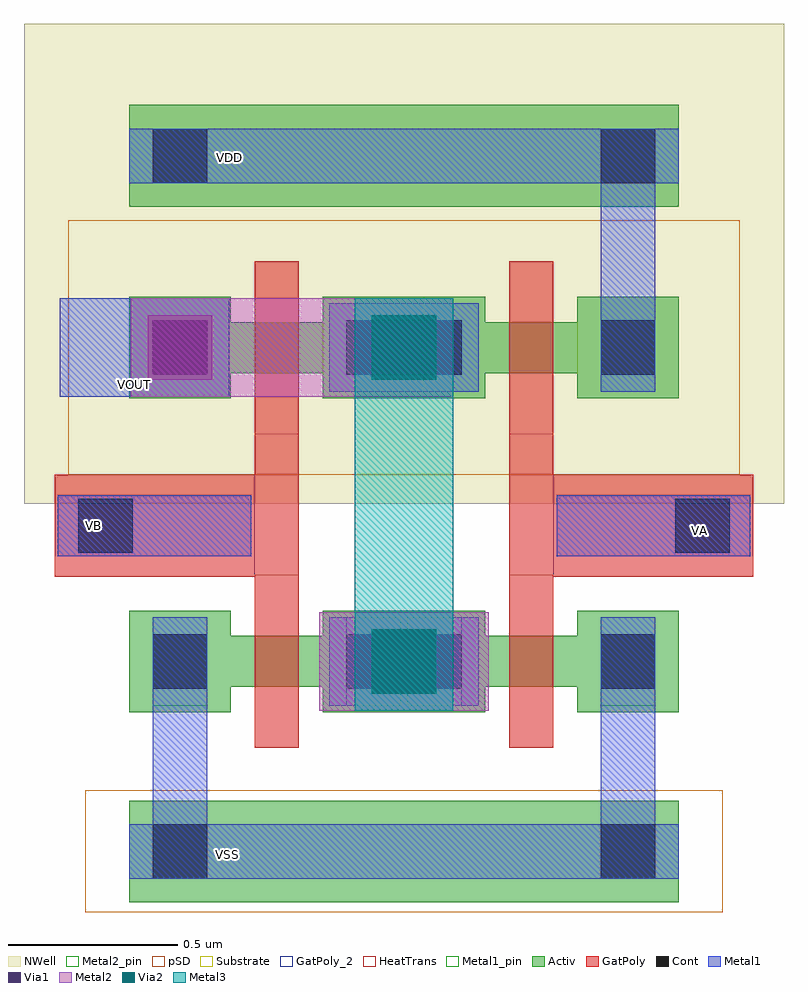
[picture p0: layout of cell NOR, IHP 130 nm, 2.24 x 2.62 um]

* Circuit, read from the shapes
.subckt NOR VA VB VDD VOUT VSS
XM1 VOUT VB VSS VSS sg13_lv_nmos w=0.15u l=0.13u
XM2 VSS VA VOUT VSS sg13_lv_nmos w=0.15u l=0.13u
XM3 n1 VB VOUT VDD sg13_lv_pmos w=0.15u l=0.13u
XM4 VDD VA n1 VDD sg13_lv_pmos w=0.15u l=0.13u
.ends

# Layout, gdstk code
import gdstk
lib = gdstk.Library(unit=1e-6, precision=5e-09)
def R(c, l, rs):  # rectangles x0, y0, x1, y1
    for r in rs: c.add(gdstk.rectangle(r[:2], r[2:], *l))
Activ = (1, 0)
GatPoly = (5, 0)
GatPoly_2 = (5, 2)
Cont = (6, 0)
Metal1 = (8, 0)
Metal1_pin = (8, 2)
Metal2 = (10, 0)
Metal2_pin = (10, 2)
pSD = (14, 0)
Via1 = (19, 0)
Via2 = (29, 0)
Metal3 = (30, 0)
NWell = (31, 0)
Substrate = (40, 0)
HeatTrans = (51, 0)

via1_constraint = lib.new_cell('Via1_constraint')
R(via1_constraint, Metal1, [(0,0,0.29,0.29)])
R(via1_constraint, Metal2, [(0,0,0.29,0.29)])
R(via1_constraint, Via1, [(0.05,0.05,0.24,0.24)])

via2_constraint = lib.new_cell('Via2_constraint')
R(via2_constraint, Metal2, [(0,0,0.29,0.29)])
R(via2_constraint, Via2, [(0.05,0.05,0.24,0.24)])
R(via2_constraint, Metal3, [(0,0,0.29,0.29)])

nmos = lib.new_cell('nmos')
R(nmos, Activ, [(0,0,0.3,0.3), (0.57,0,0.87,0.3), (0,0.075,0.87,0.225)])
R(nmos, GatPoly, [(0.37,-0.105,0.5,0.405)])
R(nmos, GatPoly_2, [(0.37,-0.105,0.5,0.405)])
R(nmos, Cont, [(0.07,0.07,0.23,0.23), (0.64,0.07,0.8,0.23)])
R(nmos, Metal1, [(0.07,0.02,0.23,0.28), (0.64,0.02,0.8,0.28)])
R(nmos, Metal1_pin, [(0.07,0.02,0.23,0.28), (0.64,0.02,0.8,0.28)])
R(nmos, HeatTrans, [(0.37,-0.105,0.5,0.405)])
nmos.add(gdstk.Label('nmos', (0.435,0.15), layer=63, texttype=0))
nmos.add(gdstk.Label('nmos', (0.435,0.15), layer=51, texttype=0))

pmos = lib.new_cell('pmos')
R(pmos, Activ, [(0,0,0.3,0.3), (0.57,0,0.87,0.3), (0,0.075,0.87,0.225)])
R(pmos, GatPoly, [(0.37,-0.105,0.5,0.405), (0.37,-0.105,0.5,0.405)])
R(pmos, Cont, [(0.07,0.07,0.23,0.23), (0.64,0.07,0.8,0.23)])
R(pmos, Metal1, [(0.07,0.02,0.23,0.28), (0.07,0.02,0.23,0.28), (0.64,0.02,0.8,0.28), (0.64,0.02,0.8,0.28)])
R(pmos, pSD, [(-0.18,-0.225,1.05,0.525)])
R(pmos, NWell, [(-0.31,-0.31,1.18,0.61)])
R(pmos, Substrate, [(0.57,0,0.87,0.3)])
R(pmos, HeatTrans, [(0.37,-0.105,0.5,0.405)])
pmos.add(gdstk.Label('pmos', (0.435,0.15), layer=63, texttype=0))
pmos.add(gdstk.Label('pmos', (0.435,0.15), layer=51, texttype=0))

nor = lib.new_cell('NOR')
R(nor, Activ, [(0.31,0.03,1.93,0.33), (0.31,2.08,1.93,2.38)])
R(nor, GatPoly, [(0.09,0.99,0.68,1.29), (1.56,0.99,2.15,1.29), (0.68,0.995,0.81,1.41), (1.43,0.995,1.56,1.41)])
R(nor, GatPoly_2, [(0.09,0.99,0.68,1.29), (1.56,0.99,2.15,1.29)])
R(nor, Cont, [(0.38,0.1,0.54,0.26), (1.7,0.1,1.86,0.26), (0.95,0.66,1.29,0.82), (0.16,1.06,0.32,1.22), (1.92,1.06,2.08,1.22), (0.95,1.585,1.29,1.745), (0.38,2.15,0.54,2.31), (1.7,2.15,1.86,2.31)])
R(nor, Metal1, [(0.31,0.1,1.93,0.26), (0.9,0.61,1.34,0.87), (0.1,1.05,0.67,1.23), (1.57,1.05,2.14,1.23), (0.105,1.52,0.315,1.81), (0.9,1.535,1.34,1.795), (0.31,2.15,1.93,2.31)])
R(nor, Metal1_pin, [(0.31,0.1,1.93,0.26), (0.1,1.05,0.67,1.23), (1.57,1.05,2.14,1.23), (0.31,2.15,1.93,2.31)])
R(nor, Metal2, [(0.87,0.595,1.37,0.885)])
R(nor, Metal2_pin, [(0.315,1.52,0.605,1.81)])
R(nor, pSD, [(0.18,0,2.06,0.36)])
R(nor, NWell, [(0,2.125,2.24,2.62)])
nor.add(gdstk.FlexPath([(1.78,1.795),(1.78,2.15)], 0.16, ends="flush", simple_path=True, layer=8, datatype=0))  # Metal1
nor.add(gdstk.FlexPath([(1.78,0.61),(1.78,0.26)], 0.16, ends="flush", simple_path=True, layer=8, datatype=0))  # Metal1
nor.add(gdstk.FlexPath([(0.46,0.61),(0.46,0.26),(0.46,0.26)], 0.16, ends="flush", simple_path=True, layer=8, datatype=0))  # Metal1
nor.add(gdstk.FlexPath([(0.605,1.665),(0.975,1.665)], 0.29, ends="flush", simple_path=True, layer=10, datatype=0))  # Metal2
nor.add(gdstk.FlexPath([(1.12,0.885),(1.12,1.52)], 0.29, ends="flush", simple_path=True, layer=30, datatype=0))  # Metal3
nor.add(gdstk.Reference(via1_constraint, (0.975,0.595)))
nor.add(gdstk.Reference(via2_constraint, (0.975,0.595)))
nor.add(gdstk.Reference(via2_constraint, (0.975,1.52)))
nor.add(gdstk.Reference(via1_constraint, (0.315,1.52)))
nor.add(gdstk.Reference(nmos, (1.06,0.59)))
nor.add(gdstk.Reference(nmos, (0.31,0.59)))
nor.add(gdstk.Reference(pmos, (1.06,1.515)))
nor.add(gdstk.Reference(pmos, (0.31,1.515)))
nor.add(gdstk.Label('VA', (1.99,1.125), layer=8, texttype=25))
nor.add(gdstk.Label('VB', (0.205,1.14), layer=8, texttype=25))
nor.add(gdstk.Label('VSS', (0.6,0.17), layer=8, texttype=25))
nor.add(gdstk.Label('VDD', (0.605,2.225), layer=8, texttype=25))
nor.add(gdstk.Label('VOUT', (0.325,1.555), layer=10, texttype=25))

lib.write_gds('NOR.gds')
